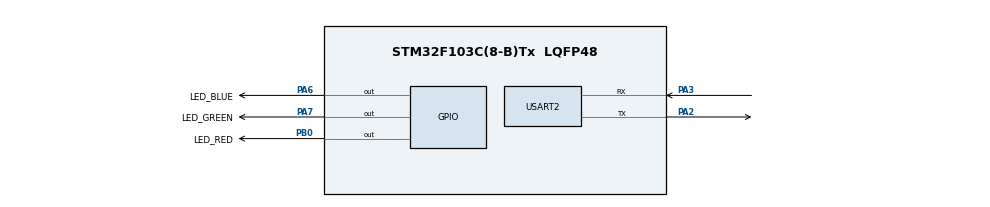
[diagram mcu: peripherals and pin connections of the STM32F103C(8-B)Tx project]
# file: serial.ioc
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Dma.Request0=USART2_TX
Dma.Request1=USART2_RX
Dma.USART2_RX.1.Direction=DMA_PERIPH_TO_MEMORY
Dma.USART2_RX.1.Instance=DMA1_Channel6
Dma.USART2_RX.1.MemDataAlignment=DMA_MDATAALIGN_BYTE
Dma.USART2_RX.1.MemInc=DMA_MINC_ENABLE
Dma.USART2_RX.1.Mode=DMA_NORMAL
Dma.USART2_RX.1.PeriphDataAlignment=DMA_PDATAALIGN_BYTE
Dma.USART2_RX.1.PeriphInc=DMA_PINC_DISABLE
Dma.USART2_RX.1.Priority=DMA_PRIORITY_LOW
Dma.USART2_TX.0.Direction=DMA_MEMORY_TO_PERIPH
Dma.USART2_TX.0.Instance=DMA1_Channel7
Dma.USART2_TX.0.MemDataAlignment=DMA_MDATAALIGN_BYTE
Dma.USART2_TX.0.MemInc=DMA_MINC_ENABLE
Dma.USART2_TX.0.Mode=DMA_NORMAL
Dma.USART2_TX.0.PeriphDataAlignment=DMA_PDATAALIGN_BYTE
Dma.USART2_TX.0.PeriphInc=DMA_PINC_DISABLE
Dma.USART2_TX.0.Priority=DMA_PRIORITY_LOW
Mcu.Family=STM32F1
Mcu.Name=STM32F103C(8-B)Tx
Mcu.Package=LQFP48
NVIC.DMA1_Channel6_IRQn=true\:0\:0\:false\:false\:true\:false\:true\:true
NVIC.DMA1_Channel7_IRQn=true\:0\:0\:false\:false\:true\:false\:true\:true
NVIC.PriorityGroup=NVIC_PRIORITYGROUP_4
NVIC.USART2_IRQn=true\:0\:0\:false\:false\:true\:true\:true\:true
PA13.Mode=Serial_Wire
PA13.Signal=SYS_JTMS-SWDIO
PA14.Mode=Serial_Wire
PA14.Signal=SYS_JTCK-SWCLK
PA2.Mode=Asynchronous
PA2.Signal=USART2_TX
PA3.Mode=Asynchronous
PA3.Signal=USART2_RX
PA6.GPIO_Label=LED_BLUE
PA6.Signal=GPIO_Output
PA7.GPIO_Label=LED_GREEN
PA7.Signal=GPIO_Output
PB0.GPIO_Label=LED_RED
PB0.Signal=GPIO_Output
ProjectManager.HeapSize=0x200
ProjectManager.StackSize=0x400
ProjectManager.TargetToolchain=CMake
RCC.APB1Freq_Value=8000000
RCC.APB2Freq_Value=8000000
USART2.VirtualMode=VM_ASYNC
board=custom

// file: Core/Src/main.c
/* USER CODE BEGIN Header */
/**
  ******************************************************************************
  * @file           : main.c
  * @brief          : Main program body
  ******************************************************************************
  * @attention
  *
  * Copyright (c) 2026 STMicroelectronics.
  * All rights reserved.
  *
  * This software is licensed under terms that can be found in the LICENSE file
  * in the root directory of this software component.
  * If no LICENSE file comes with this software, it is provided AS-IS.
  *
  ******************************************************************************
  */
/* USER CODE END Header */
#include "main.h"

/* USER CODE BEGIN Includes */
#include <string.h>
//extern DMA_HandleTypeDef hdma_usart2_rx；
/* USER CODE END Includes */

UART_HandleTypeDef huart2;
DMA_HandleTypeDef hdma_usart2_tx;
DMA_HandleTypeDef hdma_usart2_rx;

/* USER CODE BEGIN PV */
uint8_t receiveData[50];
/* USER CODE END PV */

void SystemClock_Config(void);
static void MX_GPIO_Init(void);
static void MX_DMA_Init(void);
static void MX_USART2_UART_Init(void);

/* USER CODE BEGIN 0 */
void HAL_UART_RxCpltCallback(UART_HandleTypeDef *huart)
{
	HAL_UART_Transmit_DMA(&huart2, receiveData, 2);               //中断模式的串口发送
	GPIO_PinState state = GPIO_PIN_SET;
	if (receiveData[1]=='0'){
		state = GPIO_PIN_RESET;
	}
	if (receiveData[0] == 'R'){
		HAL_GPIO_WritePin(LED_RED_GPIO_Port, LED_RED_Pin, state);
	}else if(receiveData[0] == 'G'){
		HAL_GPIO_WritePin(LED_GREEN_GPIO_Port, LED_GREEN_Pin, state);
	}else if(receiveData[0] == 'B'){
		HAL_GPIO_WritePin(LED_BLUE_GPIO_Port, LED_BLUE_Pin, state);
	}	//接收的中断模式
	HAL_UART_Receive_DMA(&huart2, receiveData, 2);
}

void HAL_UARTEx_RxEventCallback(UART_HandleTypeDef *huart, uint16_t Size)
{
    if (huart == &huart2)
    {
        /* 1. 获取触发回调的事件类型 */
        HAL_UART_RxEventTypeTypeDef eventType = HAL_UARTEx_GetRxEventType(huart);

        /* 2. 只在“传输完成”或“空闲”时处理数据并重启接收 */
        if (eventType == HAL_UART_RXEVENT_TC || eventType == HAL_UART_RXEVENT_IDLE)
        {
            // 数据已完整接收（达到缓冲区大小或总线空闲）
            // 将收到的数据原样发回（通过 DMA）
            HAL_UART_Transmit_DMA(&huart2, receiveData, Size);

            // 重新启动 DMA 接收，准备下一帧数据
            HAL_UARTEx_ReceiveToIdle_DMA(&huart2, receiveData, sizeof(receiveData));
        }
        /* 如果是半传输中断 (HAL_UART_RXEVENT_HT)，我们什么都不做，直接忽略 */
    }
}    //以上为改良版，解决了DMA模式下的中断优化问题，避免了半传输中断的干扰，以下为原始版本，未优化
/*void HAL_UARTEx_RxEventCallback(UART_HandleTypeDef *huart, uint16_t Size){
  if(huart == &huart2){
    HAL_UART_Transmit_DMA(&huart2, receiveData, Size);

    HAL_UARTEx_ReceiveToIdle_DMA(&huart2, receiveData, sizeof(receiveData));

  }
}*/
/* USER CODE END 0 */

int main(void)
{

  /* MCU Configuration--------------------------------------------------------*/

  /* Reset of all peripherals, Initializes the Flash interface and the Systick. */
  HAL_Init();

  /* Configure the system clock */
  SystemClock_Config();

  /* Initialize all configured peripherals */
  MX_GPIO_Init();
  MX_DMA_Init();
  MX_USART2_UART_Init();
  /* USER CODE BEGIN 2 */

//char message[] = "bomb is about to explode";  //发送数据到电脑
  //HAL_UART_Receive_DMA(&huart2, receiveData, 2);  //DMA模式把IT改成DMA即可
  HAL_UARTEx_ReceiveToIdle_DMA(&huart2, receiveData, sizeof(receiveData));  //DMA模式把IT改成DMA即可

  /* USER CODE END 2 */

  /* Infinite loop */
  /* USER CODE BEGIN WHILE */
  while (1)
  {
	  //此处可用节省的cpu性能运行其他代码
//HAL_UART_Receive(&huart2, receiveData, 2, HAL_MAX_DELAY);
//HAL_UART_Transmit(&huart2, receiveData, 2, 100);             //发送数据给板子(轮询模式)堵塞
/*HAL_UART_Transmit_IT(&huart2, receiveData, 2);               //中断模式的串口发送
GPIO_PinState state = GPIO_PIN_SET;
if (receiveData[1]=='0'){
	state = GPIO_PIN_RESET;
}
if (receiveData[0] == 'R'){
	HAL_GPIO_WritePin(LED_RED_GPIO_Port, LED_RED_Pin, state);
}else if(receiveData[0] == 'G'){
	HAL_GPIO_WritePin(LED_GREEN_GPIO_Port, LED_GREEN_Pin, state);     //未被中断优化的代码
}else if(receiveData[0] == 'B'){
	HAL_GPIO_WritePin(LED_BLUE_GPIO_Port, LED_BLUE_Pin, state);
}*/
//HAL_UART_Transmit(&huart2, (uint8_t*)message, strlen(message), 100);     //发送数据到电脑
//HAL_Delay(1000);
    /* USER CODE END WHILE */

  }
}

void SystemClock_Config(void)
{
  RCC_OscInitTypeDef RCC_OscInitStruct = {0};
  RCC_ClkInitTypeDef RCC_ClkInitStruct = {0};

  /** Initializes the RCC Oscillators according to the specified parameters
  * in the RCC_OscInitTypeDef structure.
  */
  RCC_OscInitStruct.OscillatorType = RCC_OSCILLATORTYPE_HSI;
  RCC_OscInitStruct.HSIState = RCC_HSI_ON;
  RCC_OscInitStruct.HSICalibrationValue = RCC_HSICALIBRATION_DEFAULT;
  RCC_OscInitStruct.PLL.PLLState = RCC_PLL_NONE;
  if (HAL_RCC_OscConfig(&RCC_OscInitStruct) != HAL_OK)
  {
    Error_Handler();
  }

  /** Initializes the CPU, AHB and APB buses clocks
  */
  RCC_ClkInitStruct.ClockType = RCC_CLOCKTYPE_HCLK|RCC_CLOCKTYPE_SYSCLK
                              |RCC_CLOCKTYPE_PCLK1|RCC_CLOCKTYPE_PCLK2;
  RCC_ClkInitStruct.SYSCLKSource = RCC_SYSCLKSOURCE_HSI;
  RCC_ClkInitStruct.AHBCLKDivider = RCC_SYSCLK_DIV1;
  RCC_ClkInitStruct.APB1CLKDivider = RCC_HCLK_DIV1;
  RCC_ClkInitStruct.APB2CLKDivider = RCC_HCLK_DIV1;

  if (HAL_RCC_ClockConfig(&RCC_ClkInitStruct, FLASH_LATENCY_0) != HAL_OK)
  {
    Error_Handler();
  }
}

static void MX_USART2_UART_Init(void)
{

  huart2.Instance = USART2;
  huart2.Init.BaudRate = 115200;
  huart2.Init.WordLength = UART_WORDLENGTH_8B;
  huart2.Init.StopBits = UART_STOPBITS_1;
  huart2.Init.Parity = UART_PARITY_NONE;
  huart2.Init.Mode = UART_MODE_TX_RX;
  huart2.Init.HwFlowCtl = UART_HWCONTROL_NONE;
  huart2.Init.OverSampling = UART_OVERSAMPLING_16;
  if (HAL_UART_Init(&huart2) != HAL_OK)
  {
    Error_Handler();
  }

}

static void MX_DMA_Init(void)
{

  /* DMA controller clock enable */
  __HAL_RCC_DMA1_CLK_ENABLE();

  /* DMA interrupt init */
  /* DMA1_Channel6_IRQn interrupt configuration */
  HAL_NVIC_SetPriority(DMA1_Channel6_IRQn, 0, 0);
  HAL_NVIC_EnableIRQ(DMA1_Channel6_IRQn);
  /* DMA1_Channel7_IRQn interrupt configuration */
  HAL_NVIC_SetPriority(DMA1_Channel7_IRQn, 0, 0);
  HAL_NVIC_EnableIRQ(DMA1_Channel7_IRQn);

}

static void MX_GPIO_Init(void)
{
  GPIO_InitTypeDef GPIO_InitStruct = {0};

  /* GPIO Ports Clock Enable */
  __HAL_RCC_GPIOA_CLK_ENABLE();
  __HAL_RCC_GPIOB_CLK_ENABLE();

  /*Configure GPIO pin Output Level */
  HAL_GPIO_WritePin(GPIOA, LED_BLUE_Pin|LED_GREEN_Pin, GPIO_PIN_RESET);

  /*Configure GPIO pin Output Level */
  HAL_GPIO_WritePin(LED_RED_GPIO_Port, LED_RED_Pin, GPIO_PIN_RESET);

  /*Configure GPIO pins : LED_BLUE_Pin LED_GREEN_Pin */
  GPIO_InitStruct.Pin = LED_BLUE_Pin|LED_GREEN_Pin;
  GPIO_InitStruct.Mode = GPIO_MODE_OUTPUT_PP;
  GPIO_InitStruct.Pull = GPIO_NOPULL;
  GPIO_InitStruct.Speed = GPIO_SPEED_FREQ_LOW;
  HAL_GPIO_Init(GPIOA, &GPIO_InitStruct);

  /*Configure GPIO pin : LED_RED_Pin */
  GPIO_InitStruct.Pin = LED_RED_Pin;
  GPIO_InitStruct.Mode = GPIO_MODE_OUTPUT_PP;
  GPIO_InitStruct.Pull = GPIO_NOPULL;
  GPIO_InitStruct.Speed = GPIO_SPEED_FREQ_LOW;
  HAL_GPIO_Init(LED_RED_GPIO_Port, &GPIO_InitStruct);

}

void Error_Handler(void)
{
  __disable_irq();
  while (1)
  {
  }
}
